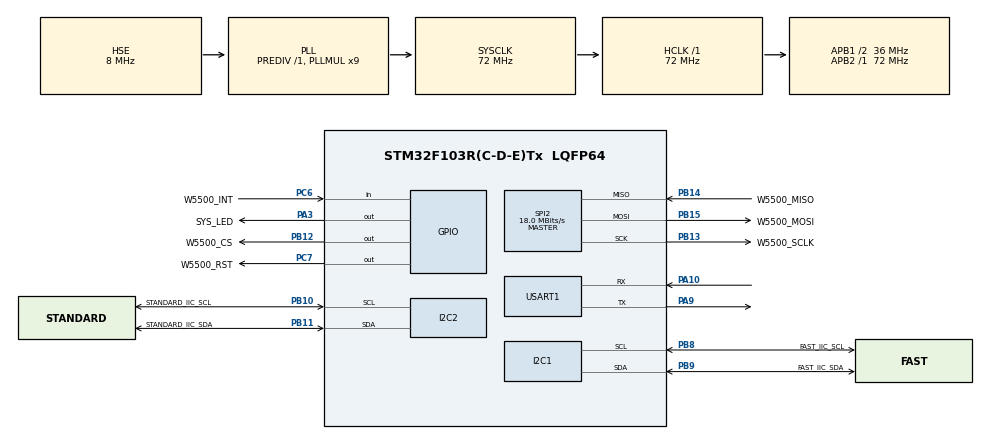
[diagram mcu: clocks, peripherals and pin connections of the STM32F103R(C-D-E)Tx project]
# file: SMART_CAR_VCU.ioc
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FREERTOS.Tasks01=TcpReceiveTask,48,128,startTcpReceiveTask,Default,NULL,Dynamic,NULL,NULL;TcpTransmitTask,40,128,startTcpTransmitTask,Default,NULL,Dynamic,NULL,NULL;ReadMpu9250Task,32,128,startReadMpu9250Task,Default,NULL,Dynamic,NULL,NULL
I2C1.I2C_Mode=I2C_Fast
Mcu.Family=STM32F1
Mcu.Name=STM32F103R(C-D-E)Tx
Mcu.Package=LQFP64
NVIC.PriorityGroup=NVIC_PRIORITYGROUP_4
NVIC.TIM1_UP_IRQn=true\:0\:0\:false\:false\:true\:false\:false\:true
NVIC.TimeBase=TIM1_UP_IRQn
NVIC.TimeBaseIP=TIM1
PA10.Mode=Asynchronous
PA10.Signal=USART1_RX
PA13.Mode=Serial_Wire
PA13.Signal=SYS_JTMS-SWDIO
PA14.Mode=Serial_Wire
PA14.Signal=SYS_JTCK-SWCLK
PA3.GPIO_Label=SYS_LED
PA3.Signal=GPIO_Output
PA9.Mode=Asynchronous
PA9.Signal=USART1_TX
PB10.GPIO_Label=STANDARD_IIC_SCL
PB10.Mode=I2C
PB10.Signal=I2C2_SCL
PB11.GPIO_Label=STANDARD_IIC_SDA
PB11.Mode=I2C
PB11.Signal=I2C2_SDA
PB12.GPIO_Label=W5500_CS
PB12.Signal=GPIO_Output
PB13.GPIO_Label=W5500_SCLK
PB13.Mode=Full_Duplex_Master
PB13.Signal=SPI2_SCK
PB14.GPIO_Label=W5500_MISO
PB14.Mode=Full_Duplex_Master
PB14.Signal=SPI2_MISO
PB15.GPIO_Label=W5500_MOSI
PB15.Mode=Full_Duplex_Master
PB15.Signal=SPI2_MOSI
PB8.GPIO_Label=FAST_IIC_SCL
PB8.Mode=I2C
PB8.Signal=I2C1_SCL
PB9.GPIO_Label=FAST_IIC_SDA
PB9.Mode=I2C
PB9.Signal=I2C1_SDA
PC6.GPIO_Label=W5500_INT
PC6.Signal=GPIO_Input
PC7.GPIO_Label=W5500_RST
PC7.Signal=GPIO_Output
PD0-OSC_IN.Mode=HSE-External-Oscillator
PD0-OSC_IN.Signal=RCC_OSC_IN
PD1-OSC_OUT.Mode=HSE-External-Oscillator
PD1-OSC_OUT.Signal=RCC_OSC_OUT
ProjectManager.HeapSize=0x200
ProjectManager.StackSize=0x400
ProjectManager.TargetToolchain=STM32CubeIDE
RCC.AHBFreq_Value=72000000
RCC.APB1CLKDivider=RCC_HCLK_DIV2
RCC.APB1Freq_Value=36000000
RCC.APB1TimFreq_Value=72000000
RCC.APB2Freq_Value=72000000
RCC.APB2TimFreq_Value=72000000
RCC.HCLKFreq_Value=72000000
RCC.PLLMUL=RCC_PLL_MUL9
RCC.PLLSourceVirtual=RCC_PLLSOURCE_HSE
RCC.SYSCLKFreq_VALUE=72000000
RCC.SYSCLKSource=RCC_SYSCLKSOURCE_PLLCLK
RCC.USBFreq_Value=72000000
SPI2.BaudRatePrescaler=SPI_BAUDRATEPRESCALER_2
SPI2.CalculateBaudRate=18.0 MBits/s
SPI2.Direction=SPI_DIRECTION_2LINES
SPI2.Mode=SPI_MODE_MASTER
SPI2.VirtualType=VM_MASTER
USART1.VirtualMode=VM_ASYNC
VP_FREERTOS_VS_CMSIS_V2.Mode=CMSIS_V2
VP_SYS_VS_tim1.Mode=TIM1
board=custom

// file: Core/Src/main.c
/* USER CODE BEGIN Header */
/**
  ******************************************************************************
  * @file           : main.c
  * @brief          : Main program body
  ******************************************************************************
  * @attention
  *
  * <h2><center>&copy; Copyright (c) 2020 STMicroelectronics.
  * All rights reserved.</center></h2>
  *
  * This software component is licensed by ST under BSD 3-Clause license,
  * the "License"; You may not use this file except in compliance with the
  * License. You may obtain a copy of the License at:
  *                        opensource.org/licenses/BSD-3-Clause
  *
  ******************************************************************************
  */
/* USER CODE END Header */
#include "main.h"
#include "cmsis_os.h"

/* USER CODE BEGIN Includes */
#include "mpu9250.h"
#include "w5500_tcp.h"
#include "pcf8574.h"
#include <string.h>  // memcmp
#include <stdio.h>  // printf
/* USER CODE END Includes */

I2C_HandleTypeDef hi2c1;
I2C_HandleTypeDef hi2c2;

SPI_HandleTypeDef hspi2;

UART_HandleTypeDef huart1;

/* Definitions for TcpReceiveTask */
osThreadId_t TcpReceiveTaskHandle;
const osThreadAttr_t TcpReceiveTask_attributes = {
  .name = "TcpReceiveTask",
  .priority = (osPriority_t) osPriorityRealtime,
  .stack_size = 128 * 4
};
/* Definitions for TcpTransmitTask */
osThreadId_t TcpTransmitTaskHandle;
const osThreadAttr_t TcpTransmitTask_attributes = {
  .name = "TcpTransmitTask",
  .priority = (osPriority_t) osPriorityHigh,
  .stack_size = 128 * 4
};
/* Definitions for ReadMpu9250Task */
osThreadId_t ReadMpu9250TaskHandle;
const osThreadAttr_t ReadMpu9250Task_attributes = {
  .name = "ReadMpu9250Task",
  .priority = (osPriority_t) osPriorityAboveNormal,
  .stack_size = 128 * 4
};

void SystemClock_Config(void);
static void MX_GPIO_Init(void);
static void MX_USART1_UART_Init(void);
static void MX_SPI2_Init(void);
static void MX_I2C1_Init(void);
static void MX_I2C2_Init(void);
void startTcpReceiveTask(void *argument);
void startTcpTransmitTask(void *argument);
void startReadMpu9250Task(void *argument);

int main(void)
{

  /* MCU Configuration--------------------------------------------------------*/

  /* Reset of all peripherals, Initializes the Flash interface and the Systick. */
  HAL_Init();

  /* Configure the system clock */
  SystemClock_Config();

  /* Initialize all configured peripherals */
  MX_GPIO_Init();
  MX_USART1_UART_Init();
  MX_SPI2_Init();
  MX_I2C1_Init();
  MX_I2C2_Init();
  /* USER CODE BEGIN 2 */
  PCF8574_SetLedStatus(LED_ALL_ON);
  MPU9250_Init();
  W5500_Init();
  PCF8574_SetLedStatus(LED_ALL_OFF);
  /* USER CODE END 2 */

  /* Init scheduler */
  osKernelInitialize();

  /* Create the thread(s) */
  /* creation of TcpReceiveTask */
  TcpReceiveTaskHandle = osThreadNew(startTcpReceiveTask, NULL, &TcpReceiveTask_attributes);

  /* creation of TcpTransmitTask */
  TcpTransmitTaskHandle = osThreadNew(startTcpTransmitTask, NULL, &TcpTransmitTask_attributes);

  /* creation of ReadMpu9250Task */
  ReadMpu9250TaskHandle = osThreadNew(startReadMpu9250Task, NULL, &ReadMpu9250Task_attributes);

  /* Start scheduler */
  osKernelStart();

  /* We should never get here as control is now taken by the scheduler */
  /* Infinite loop */
  while (1)
  {

  }
}

void SystemClock_Config(void)
{
  RCC_OscInitTypeDef RCC_OscInitStruct = {0};
  RCC_ClkInitTypeDef RCC_ClkInitStruct = {0};

  /** Initializes the RCC Oscillators according to the specified parameters
  * in the RCC_OscInitTypeDef structure.
  */
  RCC_OscInitStruct.OscillatorType = RCC_OSCILLATORTYPE_HSE;
  RCC_OscInitStruct.HSEState = RCC_HSE_ON;
  RCC_OscInitStruct.HSEPredivValue = RCC_HSE_PREDIV_DIV1;
  RCC_OscInitStruct.HSIState = RCC_HSI_ON;
  RCC_OscInitStruct.PLL.PLLState = RCC_PLL_ON;
  RCC_OscInitStruct.PLL.PLLSource = RCC_PLLSOURCE_HSE;
  RCC_OscInitStruct.PLL.PLLMUL = RCC_PLL_MUL9;
  if (HAL_RCC_OscConfig(&RCC_OscInitStruct) != HAL_OK)
  {
    Error_Handler();
  }
  /** Initializes the CPU, AHB and APB buses clocks
  */
  RCC_ClkInitStruct.ClockType = RCC_CLOCKTYPE_HCLK|RCC_CLOCKTYPE_SYSCLK
                              |RCC_CLOCKTYPE_PCLK1|RCC_CLOCKTYPE_PCLK2;
  RCC_ClkInitStruct.SYSCLKSource = RCC_SYSCLKSOURCE_PLLCLK;
  RCC_ClkInitStruct.AHBCLKDivider = RCC_SYSCLK_DIV1;
  RCC_ClkInitStruct.APB1CLKDivider = RCC_HCLK_DIV2;
  RCC_ClkInitStruct.APB2CLKDivider = RCC_HCLK_DIV1;

  if (HAL_RCC_ClockConfig(&RCC_ClkInitStruct, FLASH_LATENCY_2) != HAL_OK)
  {
    Error_Handler();
  }
}

static void MX_I2C1_Init(void)
{

  hi2c1.Instance = I2C1;
  hi2c1.Init.ClockSpeed = 400000;
  hi2c1.Init.DutyCycle = I2C_DUTYCYCLE_2;
  hi2c1.Init.OwnAddress1 = 0;
  hi2c1.Init.AddressingMode = I2C_ADDRESSINGMODE_7BIT;
  hi2c1.Init.DualAddressMode = I2C_DUALADDRESS_DISABLE;
  hi2c1.Init.OwnAddress2 = 0;
  hi2c1.Init.GeneralCallMode = I2C_GENERALCALL_DISABLE;
  hi2c1.Init.NoStretchMode = I2C_NOSTRETCH_DISABLE;
  if (HAL_I2C_Init(&hi2c1) != HAL_OK)
  {
    Error_Handler();
  }

}

static void MX_I2C2_Init(void)
{

  hi2c2.Instance = I2C2;
  hi2c2.Init.ClockSpeed = 100000;
  hi2c2.Init.DutyCycle = I2C_DUTYCYCLE_2;
  hi2c2.Init.OwnAddress1 = 0;
  hi2c2.Init.AddressingMode = I2C_ADDRESSINGMODE_7BIT;
  hi2c2.Init.DualAddressMode = I2C_DUALADDRESS_DISABLE;
  hi2c2.Init.OwnAddress2 = 0;
  hi2c2.Init.GeneralCallMode = I2C_GENERALCALL_DISABLE;
  hi2c2.Init.NoStretchMode = I2C_NOSTRETCH_DISABLE;
  if (HAL_I2C_Init(&hi2c2) != HAL_OK)
  {
    Error_Handler();
  }

}

static void MX_SPI2_Init(void)
{

  /* SPI2 parameter configuration*/
  hspi2.Instance = SPI2;
  hspi2.Init.Mode = SPI_MODE_MASTER;
  hspi2.Init.Direction = SPI_DIRECTION_2LINES;
  hspi2.Init.DataSize = SPI_DATASIZE_8BIT;
  hspi2.Init.CLKPolarity = SPI_POLARITY_LOW;
  hspi2.Init.CLKPhase = SPI_PHASE_1EDGE;
  hspi2.Init.NSS = SPI_NSS_SOFT;
  hspi2.Init.BaudRatePrescaler = SPI_BAUDRATEPRESCALER_2;
  hspi2.Init.FirstBit = SPI_FIRSTBIT_MSB;
  hspi2.Init.TIMode = SPI_TIMODE_DISABLE;
  hspi2.Init.CRCCalculation = SPI_CRCCALCULATION_DISABLE;
  hspi2.Init.CRCPolynomial = 10;
  if (HAL_SPI_Init(&hspi2) != HAL_OK)
  {
    Error_Handler();
  }

}

static void MX_USART1_UART_Init(void)
{

  huart1.Instance = USART1;
  huart1.Init.BaudRate = 115200;
  huart1.Init.WordLength = UART_WORDLENGTH_8B;
  huart1.Init.StopBits = UART_STOPBITS_1;
  huart1.Init.Parity = UART_PARITY_NONE;
  huart1.Init.Mode = UART_MODE_TX_RX;
  huart1.Init.HwFlowCtl = UART_HWCONTROL_NONE;
  huart1.Init.OverSampling = UART_OVERSAMPLING_16;
  if (HAL_UART_Init(&huart1) != HAL_OK)
  {
    Error_Handler();
  }

}

static void MX_GPIO_Init(void)
{
  GPIO_InitTypeDef GPIO_InitStruct = {0};

  /* GPIO Ports Clock Enable */
  __HAL_RCC_GPIOD_CLK_ENABLE();
  __HAL_RCC_GPIOA_CLK_ENABLE();
  __HAL_RCC_GPIOB_CLK_ENABLE();
  __HAL_RCC_GPIOC_CLK_ENABLE();

  /*Configure GPIO pin Output Level */
  HAL_GPIO_WritePin(SYS_LED_GPIO_Port, SYS_LED_Pin, GPIO_PIN_RESET);

  /*Configure GPIO pin Output Level */
  HAL_GPIO_WritePin(W5500_CS_GPIO_Port, W5500_CS_Pin, GPIO_PIN_RESET);

  /*Configure GPIO pin Output Level */
  HAL_GPIO_WritePin(W5500_RST_GPIO_Port, W5500_RST_Pin, GPIO_PIN_RESET);

  /*Configure GPIO pin : SYS_LED_Pin */
  GPIO_InitStruct.Pin = SYS_LED_Pin;
  GPIO_InitStruct.Mode = GPIO_MODE_OUTPUT_PP;
  GPIO_InitStruct.Pull = GPIO_NOPULL;
  GPIO_InitStruct.Speed = GPIO_SPEED_FREQ_LOW;
  HAL_GPIO_Init(SYS_LED_GPIO_Port, &GPIO_InitStruct);

  /*Configure GPIO pin : W5500_CS_Pin */
  GPIO_InitStruct.Pin = W5500_CS_Pin;
  GPIO_InitStruct.Mode = GPIO_MODE_OUTPUT_PP;
  GPIO_InitStruct.Pull = GPIO_NOPULL;
  GPIO_InitStruct.Speed = GPIO_SPEED_FREQ_LOW;
  HAL_GPIO_Init(W5500_CS_GPIO_Port, &GPIO_InitStruct);

  /*Configure GPIO pin : W5500_INT_Pin */
  GPIO_InitStruct.Pin = W5500_INT_Pin;
  GPIO_InitStruct.Mode = GPIO_MODE_INPUT;
  GPIO_InitStruct.Pull = GPIO_NOPULL;
  HAL_GPIO_Init(W5500_INT_GPIO_Port, &GPIO_InitStruct);

  /*Configure GPIO pin : W5500_RST_Pin */
  GPIO_InitStruct.Pin = W5500_RST_Pin;
  GPIO_InitStruct.Mode = GPIO_MODE_OUTPUT_PP;
  GPIO_InitStruct.Pull = GPIO_NOPULL;
  GPIO_InitStruct.Speed = GPIO_SPEED_FREQ_LOW;
  HAL_GPIO_Init(W5500_RST_GPIO_Port, &GPIO_InitStruct);

}

void startTcpReceiveTask(void *argument)
{
  /* USER CODE BEGIN 5 */
  /* Infinite loop */
  for(;;)
  {
    if(tcpServerReceive(W5500_TCP_SOCKET_CHANNEL, receive_buff, TCP_SERVER_PORT) > 0)
    {
      printf("%s\n", receive_buff);
    }
    osDelay(1);
  }
  /* USER CODE END 5 */
}

void startTcpTransmitTask(void *argument)
{
  /* USER CODE BEGIN startTcpTransmitTask */
  /* Infinite loop */
  for(;;)
  {
    tcpServerTransmit(W5500_TCP_SOCKET_CHANNEL, transmit_data, TRANSMIT_DATA_LENGTH, TCP_SERVER_PORT);  // strlen(transmit_data)
    osDelay(TRANSMIT_PERIOD_MS);
  }
  /* USER CODE END startTcpTransmitTask */
}

void startReadMpu9250Task(void *argument)
{
  /* USER CODE BEGIN startReadMpu9250Task */
  int16_t accel_data[3], gyro_data[3], magnet_data[3];
  /* Infinite loop */
  for(;;)
  {
    MPU9250_GetData(accel_data, magnet_data, gyro_data);
    // fill data
    memcpy(transmit_data, accel_data, sizeof(int16_t)*3);
    memcpy(transmit_data+sizeof(int16_t)*3, gyro_data, sizeof(int16_t)*3);
    memcpy(transmit_data+sizeof(int16_t)*6, magnet_data, sizeof(int16_t)*3);

    for(int i = 0; i < 18; ++i)
    {
      printf("%d,", transmit_data[i]);
    }
    printf("\n");
    osDelay(TRANSMIT_PERIOD_MS);
  }
  /* USER CODE END startReadMpu9250Task */
}

void HAL_TIM_PeriodElapsedCallback(TIM_HandleTypeDef *htim)
{
  if (htim->Instance == TIM1) {
    HAL_IncTick();
  }
}

void Error_Handler(void)
{
}

/************************ (C) COPYRIGHT STMicroelectronics *****END OF FILE****/
